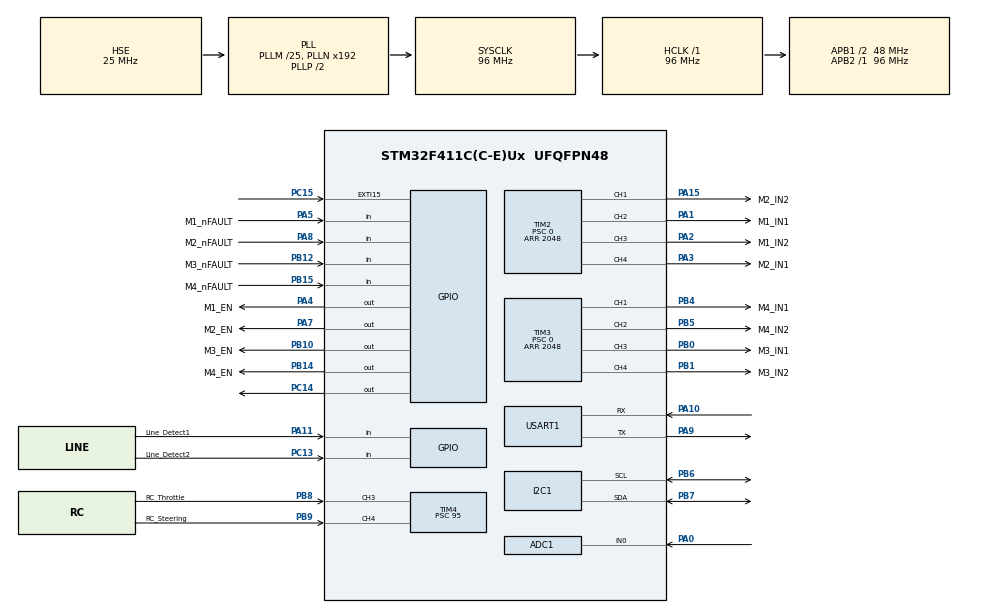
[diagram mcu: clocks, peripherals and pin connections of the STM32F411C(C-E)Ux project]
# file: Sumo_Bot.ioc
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ADC1.Channel-0\#ChannelRegularConversion=ADC_CHANNEL_0
ADC1.ContinuousConvMode=ENABLE
ADC1.NbrOfConversionFlag=1
ADC1.Rank-0\#ChannelRegularConversion=1
ADC1.SamplingTime-0\#ChannelRegularConversion=ADC_SAMPLETIME_15CYCLES
ADC1.master=1
Mcu.Family=STM32F4
Mcu.Name=STM32F411C(C-E)Ux
Mcu.Package=UFQFPN48
NVIC.EXTI15_10_IRQn=true\:0\:0\:false\:false\:true\:true\:true\:true
NVIC.PriorityGroup=NVIC_PRIORITYGROUP_4
NVIC.TIM4_IRQn=true\:0\:0\:false\:false\:true\:true\:true\:true
NVIC.USART1_IRQn=true\:0\:0\:false\:false\:true\:true\:true\:true
PA0-WKUP.Signal=ADCx_IN0
PA1.GPIO_Label=M1_IN1
PA1.Signal=S_TIM2_CH2
PA10.Mode=Asynchronous
PA10.Signal=USART1_RX
PA11.GPIO_Label=Line_Detect1
PA11.Signal=GPIO_Input
PA13.Mode=Serial_Wire
PA13.Signal=SYS_JTMS-SWDIO
PA14.Mode=Serial_Wire
PA14.Signal=SYS_JTCK-SWCLK
PA15.GPIO_Label=M2_IN2
PA15.Signal=S_TIM2_CH1_ETR
PA2.GPIO_Label=M1_IN2
PA2.Signal=S_TIM2_CH3
PA3.GPIO_Label=M2_IN1
PA3.Signal=S_TIM2_CH4
PA4.GPIO_Label=M1_EN
PA4.Signal=GPIO_Output
PA5.GPIO_Label=M1_nFAULT
PA5.Signal=GPIO_Input
PA7.GPIO_Label=M2_EN
PA7.Signal=GPIO_Output
PA8.GPIO_Label=M2_nFAULT
PA8.Signal=GPIO_Input
PA9.Mode=Asynchronous
PA9.Signal=USART1_TX
PB0.GPIO_Label=M3_IN1
PB0.Signal=S_TIM3_CH3
PB1.GPIO_Label=M3_IN2
PB1.Signal=S_TIM3_CH4
PB10.GPIO_Label=M3_EN
PB10.Signal=GPIO_Output
PB12.GPIO_Label=M3_nFAULT
PB12.Signal=GPIO_Input
PB14.GPIO_Label=M4_EN
PB14.Signal=GPIO_Output
PB15.GPIO_Label=M4_nFAULT
PB15.Signal=GPIO_Input
PB4.GPIO_Label=M4_IN1
PB4.Signal=S_TIM3_CH1
PB5.GPIO_Label=M4_IN2
PB5.Signal=S_TIM3_CH2
PB6.Mode=I2C
PB6.Signal=I2C1_SCL
PB7.Mode=I2C
PB7.Signal=I2C1_SDA
PB8.GPIO_Label=RC_Throttle
PB8.Signal=S_TIM4_CH3
PB9.GPIO_Label=RC_Steering
PB9.Signal=S_TIM4_CH4
PC13-ANTI_TAMP.GPIO_Label=Line_Detect2
PC13-ANTI_TAMP.Signal=GPIO_Input
PC14-OSC32_IN.Signal=GPIO_Output
PC15-OSC32_OUT.GPIO_ModeDefaultEXTI=GPIO_MODE_IT_RISING_FALLING
PC15-OSC32_OUT.Signal=GPXTI15
PH0\ -\ OSC_IN.Mode=HSE-External-Oscillator
PH0\ -\ OSC_IN.Signal=RCC_OSC_IN
PH1\ -\ OSC_OUT.Mode=HSE-External-Oscillator
PH1\ -\ OSC_OUT.Signal=RCC_OSC_OUT
ProjectManager.HeapSize=0x200
ProjectManager.StackSize=0x400
ProjectManager.TargetToolchain=STM32CubeIDE
RCC.48MHZClocksFreq_Value=48000000
RCC.AHBFreq_Value=96000000
RCC.APB1CLKDivider=RCC_HCLK_DIV2
RCC.APB1Freq_Value=48000000
RCC.APB1TimFreq_Value=96000000
RCC.APB2Freq_Value=96000000
RCC.APB2TimFreq_Value=96000000
RCC.CortexFreq_Value=96000000
RCC.HCLKFreq_Value=96000000
RCC.HSE_VALUE=25000000
RCC.HSI_VALUE=16000000
RCC.LSE_VALUE=32768
RCC.PLLM=25
RCC.PLLSourceVirtual=RCC_PLLSOURCE_HSE
RCC.SYSCLKFreq_VALUE=96000000
RCC.SYSCLKSource=RCC_SYSCLKSOURCE_PLLCLK
RCC.VCOOutputFreq_Value=192000000
SH.ADCx_IN0.0=ADC1_IN0,IN0
SH.S_TIM2_CH1_ETR.0=TIM2_CH1,PWM Generation1 CH1
SH.S_TIM2_CH2.0=TIM2_CH2,PWM Generation2 CH2
SH.S_TIM2_CH3.0=TIM2_CH3,PWM Generation3 CH3
SH.S_TIM2_CH4.0=TIM2_CH4,PWM Generation4 CH4
SH.S_TIM3_CH1.0=TIM3_CH1,PWM Generation1 CH1
SH.S_TIM3_CH2.0=TIM3_CH2,PWM Generation2 CH2
SH.S_TIM3_CH3.0=TIM3_CH3,PWM Generation3 CH3
SH.S_TIM3_CH4.0=TIM3_CH4,PWM Generation4 CH4
SH.S_TIM4_CH3.0=TIM4_CH3,Input_Capture3_from_TI3
SH.S_TIM4_CH4.0=TIM4_CH4,Input_Capture4_from_TI4
TIM1.Prescaler=95
TIM2.Channel-PWM\ Generation1\ CH1=TIM_CHANNEL_1
TIM2.Channel-PWM\ Generation2\ CH2=TIM_CHANNEL_2
TIM2.Channel-PWM\ Generation3\ CH3=TIM_CHANNEL_3
TIM2.Channel-PWM\ Generation4\ CH4=TIM_CHANNEL_4
TIM2.Period=2048
TIM2.Prescaler=0
TIM3.Channel-PWM\ Generation1\ CH1=TIM_CHANNEL_1
TIM3.Channel-PWM\ Generation2\ CH2=TIM_CHANNEL_2
TIM3.Channel-PWM\ Generation3\ CH3=TIM_CHANNEL_3
TIM3.Channel-PWM\ Generation4\ CH4=TIM_CHANNEL_4
TIM3.Period=2048
TIM3.Prescaler=0
TIM4.Channel-Input_Capture3_from_TI3=TIM_CHANNEL_3
TIM4.Channel-Input_Capture4_from_TI4=TIM_CHANNEL_4
TIM4.ICPolarity_CH3=TIM_INPUTCHANNELPOLARITY_BOTHEDGE
TIM4.ICPolarity_CH4=TIM_INPUTCHANNELPOLARITY_BOTHEDGE
TIM4.Prescaler=95
USART1.VirtualMode=VM_ASYNC
VP_TIM1_VS_ClockSourceINT.Mode=Internal
VP_TIM4_VS_ClockSourceINT.Mode=Internal
board=custom

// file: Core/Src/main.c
/* USER CODE BEGIN Header */
/**
 ******************************************************************************
 * @file           : main.c
 * @brief          : Main program body
 ******************************************************************************
 * @attention
 *
 * <h2><center>&copy; Copyright (c) 2022 STMicroelectronics.
 * All rights reserved.</center></h2>
 *
 * This software component is licensed by ST under BSD 3-Clause license,
 * the "License"; You may not use this file except in compliance with the
 * License. You may obtain a copy of the License at:
 *                        opensource.org/licenses/BSD-3-Clause
 *
 ******************************************************************************
 */
/* USER CODE END Header */
#include "main.h"

/* USER CODE BEGIN Includes */
#include <string.h>
#include <stdio.h>
#include "vl53l0x_api.h"
//#include "vl53l0x_platform.h"

#include "MPU6050.h"
#include "Line_Detect.h"
#include "USART.h"
#include "HCSR04.h"
#include "motor_driver.h"
#include "Remote_Control.h"
#include "lidar.h"

/* USER CODE END Includes */

/* USER CODE BEGIN PD */
#define LIDAR_ADDR (0b0101001 << 1)
#define LIDAR_REF1 (0xC0)
#define LIDAR_REF2 (0xC1)
#define LIDAR_REF3 (0xC2)
#define LIDAR_REF4 (0x51)
#define LIDAR_REF5 (0x61)
/* USER CODE END PD */

ADC_HandleTypeDef hadc1;

I2C_HandleTypeDef hi2c1;

TIM_HandleTypeDef htim1;
TIM_HandleTypeDef htim2;
TIM_HandleTypeDef htim3;
TIM_HandleTypeDef htim4;

UART_HandleTypeDef huart1;

/* USER CODE BEGIN PV */

MPU6050 IMU_1;
IR_Sensor IR1;
IR_Sensor IR2;
HCSR04 US;
Motor_t  motor_1;
Motor_t  motor_3;
RC_t throttle;
RC_t steering;
uint16_t duty;
uint16_t ADCValue;
VL53L0X_Dev_t lidar1_dev;
VL53L0X_DEV lidar1 = &lidar1_dev;

int8_t state = 0;
int16_t Auto_CNT = 0;
int16_t Auto_Target = 5;
int16_t Man_CNT = 0;
int16_t Man_Target = 5;
uint16_t LongDistTarget = 90;
uint16_t ShortDistTarget = 50;
uint32_t timeout;
uint8_t setLevel = 5;
/* USER CODE END PV */

void SystemClock_Config(void);
static void MX_GPIO_Init(void);
static void MX_ADC1_Init(void);
static void MX_I2C1_Init(void);
static void MX_TIM2_Init(void);
static void MX_TIM3_Init(void);
static void MX_TIM4_Init(void);
static void MX_USART1_UART_Init(void);
static void MX_TIM1_Init(void);

/* USER CODE BEGIN 0 */
void delay_us (uint16_t us)
{
	__HAL_TIM_SET_COUNTER(&htim1,0);  // set the counter value a 0
	while (__HAL_TIM_GET_COUNTER(&htim1) < us);  // wait for the counter to reach the us input in the parameter
}
/* USER CODE END 0 */

int main(void)
{
	/* USER CODE BEGIN 1 */

	// MPU6050 struct attribute config
	IMU_1.hi2c = &hi2c1;
	IMU_1.Accel_X = 0;
	IMU_1.Accel_Y = 0;
	IMU_1.Accel_Z = 0;
	IMU_1.Gyro_X = 0;
	IMU_1.Gyro_Y = 0;
	IMU_1.Gyro_Z = 0;

	// IR Sensor struct attribute config
	IR1.DI_GPIO = GPIOA;
	IR1.IDR_Mask = GPIO_IDR_ID11;
	IR1.IDR_Pos = GPIO_IDR_ID11_Pos;

	IR2.DI_GPIO = GPIOC;
	IR2.IDR_Mask = GPIO_IDR_ID13;
	IR2.IDR_Pos = GPIO_IDR_ID13_Pos;

	// HCSR04 struct attribute config
	US.Trig_GPIO = GPIOC;
	US.Trig_Pin = GPIO_PIN_14;
	US.Echo_GPIO = GPIOC;
	US.Echo_IDR_Mask = GPIO_IDR_ID15;
	US.Echo_IDR_Pos = GPIO_IDR_ID15_Pos;

	// Motor struct attribute config
	motor_1.htim = &htim2;
	motor_1.IN1_GPIO = GPIOA;
	motor_1.IN1_pin = TIM_CHANNEL_2;
	motor_1.IN2_GPIO = GPIOA;
	motor_1.IN2_pin = TIM_CHANNEL_3;
	motor_1.EN_GPIO = GPIOA;
	motor_1.EN_pin = GPIO_PIN_4;

	motor_3.htim = &htim3;
	motor_3.IN1_GPIO = GPIOB;
	motor_3.IN1_pin = TIM_CHANNEL_3;
	motor_3.IN2_GPIO = GPIOB;
	motor_3.IN2_pin = TIM_CHANNEL_4;
	motor_3.EN_GPIO = GPIOB;
	motor_3.EN_pin = GPIO_PIN_10;

	// Remote Control struct attribute config
	throttle.htim = &htim4;
	throttle.TIM_CH = TIM_CHANNEL_3;
	throttle.GPIO = GPIOB;
	throttle.IDR_Mask = GPIO_IDR_ID8;
	throttle.IDR_Pos = GPIO_IDR_ID8_Pos;

	steering.htim = &htim4;
	steering.TIM_CH = TIM_CHANNEL_4;
	steering.GPIO = GPIOB;
	steering.IDR_Mask = GPIO_IDR_ID9;
	steering.IDR_Pos = GPIO_IDR_ID9_Pos;

	// ToF Sensor variables
	uint8_t mdr1;
	VL53L0X_RangingMeasurementData_t range_data1;
	uint16_t tof_data;
	/* USER CODE END 1 */

	/* MCU Configuration--------------------------------------------------------*/

	/* Reset of all peripherals, Initializes the Flash interface and the Systick. */
	HAL_Init();

	/* Configure the system clock */
	SystemClock_Config();

	/* Initialize all configured peripherals */
	MX_GPIO_Init();
	MX_ADC1_Init();
	MX_I2C1_Init();
	MX_TIM2_Init();
	MX_TIM3_Init();
	MX_TIM4_Init();
	MX_USART1_UART_Init();
	MX_TIM1_Init();
	/* USER CODE BEGIN 2 */

	HAL_ADC_Start(&hadc1);

	MPU6050_Init(&IMU_1);

	HAL_TIM_Base_Start(&htim1);		// Start TIM1 for delay function
	HAL_TIM_Base_Start(&htim4);		// Start TIM4 for external interrupt (PC15) counter reading

	HAL_TIM_IC_Start_IT(&htim4, TIM_CHANNEL_3);	// Capturing RC throttle PWM with TIM4
	HAL_TIM_IC_Start_IT(&htim4, TIM_CHANNEL_4);	// Capturing RC steering PWM with TIM4

	HAL_TIM_PWM_Start(&htim2, TIM_CHANNEL_2);	// PWM signals to motor 1
	HAL_TIM_PWM_Start(&htim2, TIM_CHANNEL_3);	// PWM signals to motor 1
	HAL_TIM_PWM_Start(&htim3, TIM_CHANNEL_3);	// PWM signals to motor 3
	HAL_TIM_PWM_Start(&htim3, TIM_CHANNEL_4);	// PWM signals to motor 3

	// Set both nSleep Pin and Enable Pin high to enable the motor driver
	enable(&motor_1);
	enable(&motor_3);

	// ToF
	init_lidar(lidar1, &hi2c1); 				// Initialize the device with the i2c handle it is connected to
	check_ref_reg(lidar1, &huart1);				// Check the reference registers, to verify that i2c communication is working
	VL53L0X_Error Status = VL53L0X_ERROR_NONE;	// Initialize the sensor, I reccomend starting to check for errors at this point
	if (Status == VL53L0X_ERROR_NONE)
		Status = setup_lidar_continuous(lidar1);

	/* USER CODE END 2 */

	/* Infinite loop */
	/* USER CODE BEGIN WHILE */
	while (1)
	{

		// MPU6050
		// Acceleration
		//		HAL_Delay(1000);
		//		UART_Print_String("-------------------------------------\r\n");
		//		UART_Print_String("MPU6050\r\n");
		//		UART_Print_String("Acceleration\r\n");
		//MPU6050_Read_Accel(&IMU_1);
		//		UART_MPU6050_ACC(IMU_1.Ax,'x');
		//		UART_MPU6050_ACC(IMU_1.Ay,'y');
		//		UART_MPU6050_ACC(IMU_1.Az,'z');
		//		UART_Print_String("\r\n");
		// Angular Velocity
		//		UART_Print_String("Angular Velocity\r\n");
		//MPU6050_Read_Gyro(&IMU_1);
		//		UART_MPU6050_Gyro(IMU_1.Gx,'x');
		//		UART_MPU6050_Gyro(IMU_1.Gy,'y');
		//		UART_MPU6050_Gyro(IMU_1.Gz,'z');
		//		UART_Print_String("-------------------------------------\r\n");

		// Finite State Machine
		switch(state){
		case 0:									// mode select state
			if(steering.usWidth > 1800){
				Auto_CNT++;
				Man_CNT = 0;
				if(Auto_CNT == Auto_Target){
					Auto_CNT = 0;
					state = 5;
				}
				else{
					state = 0;
				}

			}
			else if(steering.usWidth < 1200){
				Man_CNT++;
				Auto_CNT = 0;
				if(Man_CNT == Man_Target){
					Man_CNT = 0;
					state = 4;
				}
				else{
					state = 0;
				}
			}
			else{
				Auto_CNT = 0;
				Man_CNT = 0;
				state = 0;
			}
			break;
		case 1:									//	attack state
			while(throttle.usWidth < 1850){
				set_level(&motor_1, 0);
				set_level(&motor_3, 0);
			}
			// Sensor Read
			// HC-SRO4
			HAL_GPIO_WritePin(US.Trig_GPIO, US.Trig_Pin, GPIO_PIN_SET);  // pull the TRIG pin HIGH
			delay_us (10);  // wait for 10 us
			HAL_GPIO_WritePin(US.Trig_GPIO, US.Trig_Pin, GPIO_PIN_RESET);

			// VL53L0X_ToF Sensor
			if (Status == VL53L0X_ERROR_NONE)
				Status = VL53L0X_GetMeasurementDataReady(lidar1, &mdr1);
			if (mdr1 && Status == VL53L0X_ERROR_NONE)
			{
				Status = VL53L0X_GetRangingMeasurementData(lidar1, &range_data1);
				tof_data = (range_data1.RangeMilliMeter)/10; //converted to cm for simplicity
				UART_Print_Val("Range (cm): %d cm\r\n" , tof_data);
				VL53L0X_ClearInterruptMask(lidar1, VL53L0X_REG_SYSTEM_INTERRUPT_GPIO_NEW_SAMPLE_READY);
			}

			// Strategy Starts From Here

			UART_Print_Val("US Stuff (cm): %d\r\n cm", US.EXTI_Diff);

			if ((tof_data < ShortDistTarget) || (US.EXTI_Diff < ShortDistTarget)){
				set_level(&motor_1, -2048);
				set_level(&motor_3, 2048);
			}

			else {

				set_level(&motor_1, -2048);
				set_level(&motor_3, -2048);
			}

			state = 2;
			break;

		case 2:									//	Line Detect State
			// Line Detect
			//UART_Print_String("Line Detect 1\r\n");
			LineDetect(&IR1);
			//UART_Print_String("Line Detect 2\r\n");
			LineDetect(&IR2);
			//		UART_Print_String("-------------------------------------\r\n");
			//			set_level(&motor_1, 0);
			//			set_level(&motor_3, 0);
			// Strategy Starts From Here

			if ((IR2.DI_GPIO->IDR & IR2.IDR_Mask) <100){
				//uint32_t start = HAL_GetTick();
				//timeout = HAL_GetTick() + setLevel;
				//UART_Print_Val("time %d \r\n", HAL_GetTick());
				set_level(&motor_1, 2048);
				set_level(&motor_3, -2048);
				HAL_Delay(70);
				set_level(&motor_1, -2048);
				set_level(&motor_3, -2048);
				HAL_Delay(350);

			}

			else if ((IR1.DI_GPIO->IDR & IR1.IDR_Mask)<100){
				set_level(&motor_1, 2048);
				set_level(&motor_3, -2048);
				HAL_Delay(70);
				set_level(&motor_1, 2048);
				set_level(&motor_3, 2048);
				HAL_Delay(350);
			}

			//UART_Print_Val("color %d \r\n", IR1.DI_GPIO->IDR & IR1.IDR_Mask);
			//UART_Print_Val("color %d \r\n", IR2.DI_GPIO->IDR & IR2.IDR_Mask);
			//UART_Print_Val("color %d \r\n", IR1.IDR_Mask);
			//			if(){
			//
			//			}

			state = 3;
			break;
		case 3:
			//Battery Monitoring
			HAL_ADC_Start(&hadc1);
			HAL_ADC_PollForConversion(&hadc1,1000);
			ADCValue = HAL_ADC_GetValue(&hadc1);
			//UART_Print_Val("ADC Value: %d\r\n", ADCValue);

			HAL_ADC_Stop(&hadc1);
			if (ADCValue < 2880)
			{
				disable(&motor_1);
				disable(&motor_3);
				state = 3;
			}
			else if (ADCValue >= 2880)
			{
				enable(&motor_1);
				enable(&motor_3);
				state = 1;
			}
			break;
		case 4:									// Manual Mode

			UART_Print_Val("Throttle: %d\r\n", throttle.usWidth);
			UART_Print_Val("Steering: %d\r\n", steering.usWidth);

			if(throttle.usWidth > 2000){
				throttle.usWidth = 2000;
			}
			else if(throttle.usWidth < 1000){
				throttle.usWidth = 1000;
			}
			if(steering.usWidth > 2000){
				steering.usWidth = 2000;
			}
			else if(steering.usWidth < 1000){
				steering.usWidth = 1000;
			}

			if (throttle.usWidth>1550){
				duty = (-2048/500)*(throttle.usWidth -1500);
				set_level(&motor_1, -duty);
				set_level(&motor_3, +duty);
			}
			else if(throttle.usWidth<1450){
				duty = (2048/500)*(1500-throttle.usWidth);
				set_level(&motor_1, duty);
				set_level(&motor_3, -duty);
			}
			else if(throttle.usWidth>1450 && throttle.usWidth<1550){
				duty = 0;
				set_level(&motor_1, duty);
				set_level(&motor_3, duty);
			}

			if (steering.usWidth>1550 && throttle.usWidth >1550){
				duty = (2048/500)*(throttle.usWidth-1500);
				set_level(&motor_1, -duty);
				set_level(&motor_3, -duty);
			}
			else if  (steering.usWidth>1550 && throttle.usWidth < 1450){
				duty = (2048/500)*(1500-throttle.usWidth);
				set_level(&motor_1, -duty);
				set_level(&motor_3, -duty);
			}

			else if (steering.usWidth <1450 && throttle.usWidth >1550){
				duty = (2048/500)*(throttle.usWidth-1500);
				set_level(&motor_1, +duty);
				set_level(&motor_3, +duty);
			}
			else if  (steering.usWidth <1450 && throttle.usWidth < 1450){
				duty = (2048/500)*(1500-throttle.usWidth);
				set_level(&motor_1, +duty);
				set_level(&motor_3, +duty);
			}

			break;
		case 5:
			while(throttle.usWidth < 1850){
				set_level(&motor_1, 0);
				set_level(&motor_3, 0);
			}
			set_level(&motor_1, 2048);
			set_level(&motor_3, 2048);
			HAL_Delay(220);
			set_level(&motor_1, 2048);
			set_level(&motor_3, -2048);
			HAL_Delay(300);
			state = 1;
		default:
			UART_Print_String("BAD CODE LOLOLOL\r\n");
		}

		//		HAL_Delay(1000);

		/* USER CODE END WHILE */

	}
}

void SystemClock_Config(void)
{
	RCC_OscInitTypeDef RCC_OscInitStruct = {0};
	RCC_ClkInitTypeDef RCC_ClkInitStruct = {0};

	/** Configure the main internal regulator output voltage
	 */
	__HAL_RCC_PWR_CLK_ENABLE();
	__HAL_PWR_VOLTAGESCALING_CONFIG(PWR_REGULATOR_VOLTAGE_SCALE1);

	/** Initializes the RCC Oscillators according to the specified parameters
	 * in the RCC_OscInitTypeDef structure.
	 */
	RCC_OscInitStruct.OscillatorType = RCC_OSCILLATORTYPE_HSE;
	RCC_OscInitStruct.HSEState = RCC_HSE_ON;
	RCC_OscInitStruct.PLL.PLLState = RCC_PLL_ON;
	RCC_OscInitStruct.PLL.PLLSource = RCC_PLLSOURCE_HSE;
	RCC_OscInitStruct.PLL.PLLM = 25;
	RCC_OscInitStruct.PLL.PLLN = 192;
	RCC_OscInitStruct.PLL.PLLP = RCC_PLLP_DIV2;
	RCC_OscInitStruct.PLL.PLLQ = 4;
	if (HAL_RCC_OscConfig(&RCC_OscInitStruct) != HAL_OK)
	{
		Error_Handler();
	}

	/** Initializes the CPU, AHB and APB buses clocks
	 */
	RCC_ClkInitStruct.ClockType = RCC_CLOCKTYPE_HCLK|RCC_CLOCKTYPE_SYSCLK
			|RCC_CLOCKTYPE_PCLK1|RCC_CLOCKTYPE_PCLK2;
	RCC_ClkInitStruct.SYSCLKSource = RCC_SYSCLKSOURCE_PLLCLK;
	RCC_ClkInitStruct.AHBCLKDivider = RCC_SYSCLK_DIV1;
	RCC_ClkInitStruct.APB1CLKDivider = RCC_HCLK_DIV2;
	RCC_ClkInitStruct.APB2CLKDivider = RCC_HCLK_DIV1;

	if (HAL_RCC_ClockConfig(&RCC_ClkInitStruct, FLASH_LATENCY_3) != HAL_OK)
	{
		Error_Handler();
	}
}

static void MX_ADC1_Init(void)
{

	ADC_ChannelConfTypeDef sConfig = {0};

	/** Configure the global features of the ADC (Clock, Resolution, Data Alignment and number of conversion)
	 */
	hadc1.Instance = ADC1;
	hadc1.Init.ClockPrescaler = ADC_CLOCK_SYNC_PCLK_DIV4;
	hadc1.Init.Resolution = ADC_RESOLUTION_12B;
	hadc1.Init.ScanConvMode = DISABLE;
	hadc1.Init.ContinuousConvMode = ENABLE;
	hadc1.Init.DiscontinuousConvMode = DISABLE;
	hadc1.Init.ExternalTrigConvEdge = ADC_EXTERNALTRIGCONVEDGE_NONE;
	hadc1.Init.ExternalTrigConv = ADC_SOFTWARE_START;
	hadc1.Init.DataAlign = ADC_DATAALIGN_RIGHT;
	hadc1.Init.NbrOfConversion = 1;
	hadc1.Init.DMAContinuousRequests = DISABLE;
	hadc1.Init.EOCSelection = ADC_EOC_SINGLE_CONV;
	if (HAL_ADC_Init(&hadc1) != HAL_OK)
	{
		Error_Handler();
	}

	/** Configure for the selected ADC regular channel its corresponding rank in the sequencer and its sample time.
	 */
	sConfig.Channel = ADC_CHANNEL_0;
	sConfig.Rank = 1;
	sConfig.SamplingTime = ADC_SAMPLETIME_15CYCLES;
	if (HAL_ADC_ConfigChannel(&hadc1, &sConfig) != HAL_OK)
	{
		Error_Handler();
	}

}

static void MX_I2C1_Init(void)
{

	hi2c1.Instance = I2C1;
	hi2c1.Init.ClockSpeed = 100000;
	hi2c1.Init.DutyCycle = I2C_DUTYCYCLE_2;
	hi2c1.Init.OwnAddress1 = 0;
	hi2c1.Init.AddressingMode = I2C_ADDRESSINGMODE_7BIT;
	hi2c1.Init.DualAddressMode = I2C_DUALADDRESS_DISABLE;
	hi2c1.Init.OwnAddress2 = 0;
	hi2c1.Init.GeneralCallMode = I2C_GENERALCALL_DISABLE;
	hi2c1.Init.NoStretchMode = I2C_NOSTRETCH_DISABLE;
	if (HAL_I2C_Init(&hi2c1) != HAL_OK)
	{
		Error_Handler();
	}

}

static void MX_TIM1_Init(void)
{

	TIM_ClockConfigTypeDef sClockSourceConfig = {0};
	TIM_MasterConfigTypeDef sMasterConfig = {0};

	htim1.Instance = TIM1;
	htim1.Init.Prescaler = 95;
	htim1.Init.CounterMode = TIM_COUNTERMODE_UP;
	htim1.Init.Period = 65535;
	htim1.Init.ClockDivision = TIM_CLOCKDIVISION_DIV1;
	htim1.Init.RepetitionCounter = 0;
	htim1.Init.AutoReloadPreload = TIM_AUTORELOAD_PRELOAD_DISABLE;
	if (HAL_TIM_Base_Init(&htim1) != HAL_OK)
	{
		Error_Handler();
	}
	sClockSourceConfig.ClockSource = TIM_CLOCKSOURCE_INTERNAL;
	if (HAL_TIM_ConfigClockSource(&htim1, &sClockSourceConfig) != HAL_OK)
	{
		Error_Handler();
	}
	sMasterConfig.MasterOutputTrigger = TIM_TRGO_RESET;
	sMasterConfig.MasterSlaveMode = TIM_MASTERSLAVEMODE_DISABLE;
	if (HAL_TIMEx_MasterConfigSynchronization(&htim1, &sMasterConfig) != HAL_OK)
	{
		Error_Handler();
	}

}

static void MX_TIM2_Init(void)
{

	TIM_MasterConfigTypeDef sMasterConfig = {0};
	TIM_OC_InitTypeDef sConfigOC = {0};

	htim2.Instance = TIM2;
	htim2.Init.Prescaler = 0;
	htim2.Init.CounterMode = TIM_COUNTERMODE_UP;
	htim2.Init.Period = 2048;
	htim2.Init.ClockDivision = TIM_CLOCKDIVISION_DIV1;
	htim2.Init.AutoReloadPreload = TIM_AUTORELOAD_PRELOAD_DISABLE;
	if (HAL_TIM_PWM_Init(&htim2) != HAL_OK)
	{
		Error_Handler();
	}
	sMasterConfig.MasterOutputTrigger = TIM_TRGO_RESET;
	sMasterConfig.MasterSlaveMode = TIM_MASTERSLAVEMODE_DISABLE;
	if (HAL_TIMEx_MasterConfigSynchronization(&htim2, &sMasterConfig) != HAL_OK)
	{
		Error_Handler();
	}
	sConfigOC.OCMode = TIM_OCMODE_PWM1;
	sConfigOC.Pulse = 0;
	sConfigOC.OCPolarity = TIM_OCPOLARITY_HIGH;
	sConfigOC.OCFastMode = TIM_OCFAST_DISABLE;
	if (HAL_TIM_PWM_ConfigChannel(&htim2, &sConfigOC, TIM_CHANNEL_1) != HAL_OK)
	{
		Error_Handler();
	}
	if (HAL_TIM_PWM_ConfigChannel(&htim2, &sConfigOC, TIM_CHANNEL_2) != HAL_OK)
	{
		Error_Handler();
	}
	if (HAL_TIM_PWM_ConfigChannel(&htim2, &sConfigOC, TIM_CHANNEL_3) != HAL_OK)
	{
		Error_Handler();
	}
	if (HAL_TIM_PWM_ConfigChannel(&htim2, &sConfigOC, TIM_CHANNEL_4) != HAL_OK)
	{
		Error_Handler();
	}
	HAL_TIM_MspPostInit(&htim2);

}

static void MX_TIM3_Init(void)
{

	TIM_MasterConfigTypeDef sMasterConfig = {0};
	TIM_OC_InitTypeDef sConfigOC = {0};

	htim3.Instance = TIM3;
	htim3.Init.Prescaler = 0;
	htim3.Init.CounterMode = TIM_COUNTERMODE_UP;
	htim3.Init.Period = 2048;
	htim3.Init.ClockDivision = TIM_CLOCKDIVISION_DIV1;
	htim3.Init.AutoReloadPreload = TIM_AUTORELOAD_PRELOAD_DISABLE;
	if (HAL_TIM_PWM_Init(&htim3) != HAL_OK)
	{
		Error_Handler();
	}
	sMasterConfig.MasterOutputTrigger = TIM_TRGO_RESET;
	sMasterConfig.MasterSlaveMode = TIM_MASTERSLAVEMODE_DISABLE;
	if (HAL_TIMEx_MasterConfigSynchronization(&htim3, &sMasterConfig) != HAL_OK)
	{
		Error_Handler();
	}
	sConfigOC.OCMode = TIM_OCMODE_PWM1;
	sConfigOC.Pulse = 0;
	sConfigOC.OCPolarity = TIM_OCPOLARITY_HIGH;
	sConfigOC.OCFastMode = TIM_OCFAST_DISABLE;
	if (HAL_TIM_PWM_ConfigChannel(&htim3, &sConfigOC, TIM_CHANNEL_1) != HAL_OK)
	{
		Error_Handler();
	}
	if (HAL_TIM_PWM_ConfigChannel(&htim3, &sConfigOC, TIM_CHANNEL_2) != HAL_OK)
	{
		Error_Handler();
	}
	if (HAL_TIM_PWM_ConfigChannel(&htim3, &sConfigOC, TIM_CHANNEL_3) != HAL_OK)
	{
		Error_Handler();
	}
	if (HAL_TIM_PWM_ConfigChannel(&htim3, &sConfigOC, TIM_CHANNEL_4) != HAL_OK)
	{
		Error_Handler();
	}
	HAL_TIM_MspPostInit(&htim3);

}

static void MX_TIM4_Init(void)
{

	TIM_ClockConfigTypeDef sClockSourceConfig = {0};
	TIM_MasterConfigTypeDef sMasterConfig = {0};
	TIM_IC_InitTypeDef sConfigIC = {0};

	htim4.Instance = TIM4;
	htim4.Init.Prescaler = 95;
	htim4.Init.CounterMode = TIM_COUNTERMODE_UP;
	htim4.Init.Period = 65535;
	htim4.Init.ClockDivision = TIM_CLOCKDIVISION_DIV1;
	htim4.Init.AutoReloadPreload = TIM_AUTORELOAD_PRELOAD_DISABLE;
	if (HAL_TIM_Base_Init(&htim4) != HAL_OK)
	{
		Error_Handler();
	}
	sClockSourceConfig.ClockSource = TIM_CLOCKSOURCE_INTERNAL;
	if (HAL_TIM_ConfigClockSource(&htim4, &sClockSourceConfig) != HAL_OK)
	{
		Error_Handler();
	}
	if (HAL_TIM_IC_Init(&htim4) != HAL_OK)
	{
		Error_Handler();
	}
	sMasterConfig.MasterOutputTrigger = TIM_TRGO_RESET;
	sMasterConfig.MasterSlaveMode = TIM_MASTERSLAVEMODE_DISABLE;
	if (HAL_TIMEx_MasterConfigSynchronization(&htim4, &sMasterConfig) != HAL_OK)
	{
		Error_Handler();
	}
	sConfigIC.ICPolarity = TIM_INPUTCHANNELPOLARITY_BOTHEDGE;
	sConfigIC.ICSelection = TIM_ICSELECTION_DIRECTTI;
	sConfigIC.ICPrescaler = TIM_ICPSC_DIV1;
	sConfigIC.ICFilter = 0;
	if (HAL_TIM_IC_ConfigChannel(&htim4, &sConfigIC, TIM_CHANNEL_3) != HAL_OK)
	{
		Error_Handler();
	}
	if (HAL_TIM_IC_ConfigChannel(&htim4, &sConfigIC, TIM_CHANNEL_4) != HAL_OK)
	{
		Error_Handler();
	}

}

static void MX_USART1_UART_Init(void)
{

	huart1.Instance = USART1;
	huart1.Init.BaudRate = 115200;
	huart1.Init.WordLength = UART_WORDLENGTH_8B;
	huart1.Init.StopBits = UART_STOPBITS_1;
	huart1.Init.Parity = UART_PARITY_NONE;
	huart1.Init.Mode = UART_MODE_TX_RX;
	huart1.Init.HwFlowCtl = UART_HWCONTROL_NONE;
	huart1.Init.OverSampling = UART_OVERSAMPLING_16;
	if (HAL_UART_Init(&huart1) != HAL_OK)
	{
		Error_Handler();
	}

}

static void MX_GPIO_Init(void)
{
	GPIO_InitTypeDef GPIO_InitStruct = {0};

	/* GPIO Ports Clock Enable */
	__HAL_RCC_GPIOC_CLK_ENABLE();
	__HAL_RCC_GPIOH_CLK_ENABLE();
	__HAL_RCC_GPIOA_CLK_ENABLE();
	__HAL_RCC_GPIOB_CLK_ENABLE();

	/*Configure GPIO pin Output Level */
	HAL_GPIO_WritePin(GPIOC, GPIO_PIN_14, GPIO_PIN_RESET);

	/*Configure GPIO pin Output Level */
	HAL_GPIO_WritePin(GPIOA, M1_EN_Pin|M2_EN_Pin, GPIO_PIN_RESET);

	/*Configure GPIO pin Output Level */
	HAL_GPIO_WritePin(GPIOB, M3_EN_Pin|M4_EN_Pin, GPIO_PIN_RESET);

	/*Configure GPIO pin : Line_Detect2_Pin */
	GPIO_InitStruct.Pin = Line_Detect2_Pin;
	GPIO_InitStruct.Mode = GPIO_MODE_INPUT;
	GPIO_InitStruct.Pull = GPIO_NOPULL;
	HAL_GPIO_Init(Line_Detect2_GPIO_Port, &GPIO_InitStruct);

	/*Configure GPIO pin : PC14 */
	GPIO_InitStruct.Pin = GPIO_PIN_14;
	GPIO_InitStruct.Mode = GPIO_MODE_OUTPUT_PP;
	GPIO_InitStruct.Pull = GPIO_NOPULL;
	GPIO_InitStruct.Speed = GPIO_SPEED_FREQ_LOW;
	HAL_GPIO_Init(GPIOC, &GPIO_InitStruct);

	/*Configure GPIO pin : PC15 */
	GPIO_InitStruct.Pin = GPIO_PIN_15;
	GPIO_InitStruct.Mode = GPIO_MODE_IT_RISING_FALLING;
	GPIO_InitStruct.Pull = GPIO_NOPULL;
	HAL_GPIO_Init(GPIOC, &GPIO_InitStruct);

	/*Configure GPIO pins : M1_EN_Pin M2_EN_Pin */
	GPIO_InitStruct.Pin = M1_EN_Pin|M2_EN_Pin;
	GPIO_InitStruct.Mode = GPIO_MODE_OUTPUT_PP;
	GPIO_InitStruct.Pull = GPIO_NOPULL;
	GPIO_InitStruct.Speed = GPIO_SPEED_FREQ_LOW;
	HAL_GPIO_Init(GPIOA, &GPIO_InitStruct);

	/*Configure GPIO pins : M1_nFAULT_Pin M2_nFAULT_Pin Line_Detect1_Pin */
	GPIO_InitStruct.Pin = M1_nFAULT_Pin|M2_nFAULT_Pin|Line_Detect1_Pin;
	GPIO_InitStruct.Mode = GPIO_MODE_INPUT;
	GPIO_InitStruct.Pull = GPIO_NOPULL;
	HAL_GPIO_Init(GPIOA, &GPIO_InitStruct);

	/*Configure GPIO pins : M3_EN_Pin M4_EN_Pin */
	GPIO_InitStruct.Pin = M3_EN_Pin|M4_EN_Pin;
	GPIO_InitStruct.Mode = GPIO_MODE_OUTPUT_PP;
	GPIO_InitStruct.Pull = GPIO_NOPULL;
	GPIO_InitStruct.Speed = GPIO_SPEED_FREQ_LOW;
	HAL_GPIO_Init(GPIOB, &GPIO_InitStruct);

	/*Configure GPIO pins : M3_nFAULT_Pin M4_nFAULT_Pin */
	GPIO_InitStruct.Pin = M3_nFAULT_Pin|M4_nFAULT_Pin;
	GPIO_InitStruct.Mode = GPIO_MODE_INPUT;
	GPIO_InitStruct.Pull = GPIO_NOPULL;
	HAL_GPIO_Init(GPIOB, &GPIO_InitStruct);

	/* EXTI interrupt init*/
	HAL_NVIC_SetPriority(EXTI15_10_IRQn, 0, 0);
	HAL_NVIC_EnableIRQ(EXTI15_10_IRQn);

}

/* USER CODE BEGIN 4 */

void HAL_TIM_IC_CaptureCallback(TIM_HandleTypeDef *htim){

	// Throttle
	if(throttle.GPIO->IDR & throttle.IDR_Mask){ //throttle.Edge_Flag == 0
		throttle.IC_Val1 = HAL_TIM_ReadCapturedValue(throttle.htim, throttle.TIM_CH); // read the first value
	}
	else{
		throttle.IC_Val2 = HAL_TIM_ReadCapturedValue(throttle.htim, throttle.TIM_CH);
		getWidth(&throttle);
	}

	// Steering
	if(steering.GPIO->IDR & steering.IDR_Mask){  //steering.Edge_Flag == 0
		steering.IC_Val1 = HAL_TIM_ReadCapturedValue(steering.htim, steering.TIM_CH); // read the first value
	}
	else{
		steering.IC_Val2 = HAL_TIM_ReadCapturedValue(steering.htim, steering.TIM_CH);
		getWidth(&steering);
	}

}

void HAL_GPIO_EXTI_Callback(uint16_t GPIO_Pin){

	if((US.Echo_GPIO->IDR & GPIO_IDR_ID15)){
		US.EXTI_Val1 = TIM4->CNT;
	}
	else{
		US.EXTI_Val2 = TIM4->CNT;
		HCSR04_DistCalc(&US);
	}
}

/* USER CODE END 4 */

void Error_Handler(void)
{
	__disable_irq();
	while (1)
	{
	}
}
